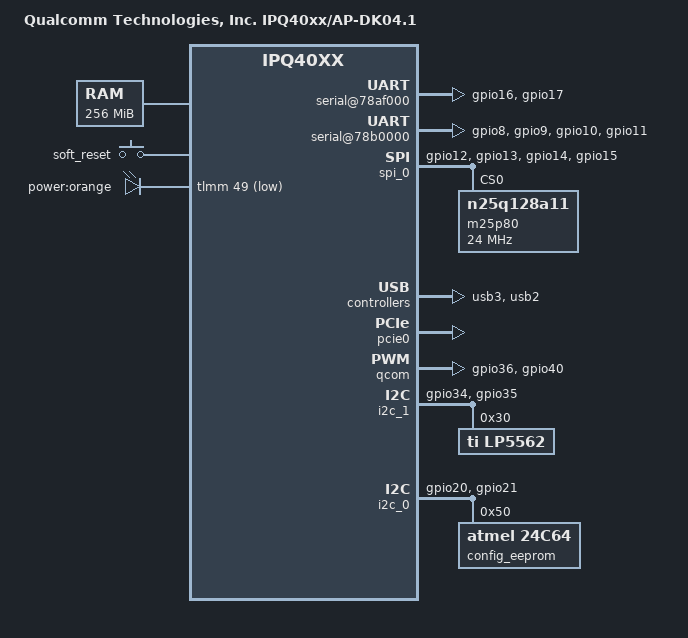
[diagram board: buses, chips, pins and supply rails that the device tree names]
/* Copyright (c) 2015, The Linux Foundation. All rights reserved.
 *
 * Permission to use, copy, modify, and/or distribute this software for any
 * purpose with or without fee is hereby granted, provided that the above
 * copyright notice and this permission notice appear in all copies.
 *
 * THE SOFTWARE IS PROVIDED "AS IS" AND THE AUTHOR DISCLAIMS ALL WARRANTIES
 * WITH REGARD TO THIS SOFTWARE INCLUDING ALL IMPLIED WARRANTIES OF
 * MERCHANTABILITY AND FITNESS. IN NO EVENT SHALL THE AUTHOR BE LIABLE FOR
 * ANY SPECIAL, DIRECT, INDIRECT, OR CONSEQUENTIAL DAMAGES OR ANY DAMAGES
 * WHATSOEVER RESULTING FROM LOSS OF USE, DATA OR PROFITS, WHETHER IN AN
 * ACTION OF CONTRACT, NEGLIGENCE OR OTHER TORTIOUS ACTION, ARISING OUT OF
 * OR IN CONNECTION WITH THE USE OR PERFORMANCE OF THIS SOFTWARE.
 *
 */

#include "qcom-ipq40xx.dtsi"
#include <dt-bindings/input/input.h>
#include <dt-bindings/gpio/gpio.h>

/ {
	model = "Qualcomm Technologies, Inc. IPQ40xx/AP-DK04.1";
	compatible = "qcom,ipq40xx-apdk04.1", "qcom,ipq40xx";

	memory {
		device_type = "memory";
		reg = <0x80000000 0x10000000>; /* 256MB */
		linux,usable-memory = <0x80000000 0xFF00000>;
	};

	reserved-memory {
		#address-cells = <1>;
		#size-cells = <1>;
		ranges;
		tz_mem@87B00000 {
			/* Reserved for TZ, SMEM, TZAPPS */
			reg = <0x87B00000 0x500000>;
			no-map;
		};
		wifi_dump@87500000 {
			reg = <0x87500000 0x600000>;
			no-map;
		};
	};

	chosen {
		bootargs-append = " clk_ignore_unused";
	};

};
	&soc {
		pinctrl@0x01000000 {
			serial_0_pins: serial0_pinmux {
				mux {
					pins = "gpio16", "gpio17";
					function = "blsp_uart0";
					bias-disable;
				};
			};

			led_0_pins: led0_pinmux {
				mux_1 {
					pins = "gpio36";
					function = "led0";
					bias-pull-down;
				};
				mux_2 {
					pins = "gpio40";
					function = "led4";
					bias-pull-down;
				};
			};

			serial_1_pins: serial1_pinmux {
				mux {
					pins = "gpio8", "gpio9", "gpio10", "gpio11";
					function = "blsp_uart1";
					bias-disable;
				};
			};

			spi_0_pins: spi_0_pinmux {
				mux {
					pins = "gpio12", "gpio13", "gpio14", "gpio15";
					function = "blsp_spi0";
					bias-disable;
				};
			};

			i2c_0_pins: i2c_0_pinmux {
				mux {
					pins = "gpio20", "gpio21";
					function = "blsp_i2c0";
					bias-disable;
				};
			};

			ts_0_pins: ts_0_pinmux {
				mux_1 {
					pins = "gpio34";
					output-high;
				};
				mux_2 {
					pins= "gpio35";
					input-enable;
					bias-pull-up;
				};
			};

			i2c_1_pins: i2c_1_pinmux {
				mux {
					pins = "gpio34", "gpio35";
					function = "blsp_i2c1";
					bias-disable;
				};
			};
		};

		serial@78af000 {
			pinctrl-0 = <&serial_0_pins>;
			pinctrl-names = "default";
			status = "ok";
		};

		serial@78b0000 {
			pinctrl-0 = <&serial_1_pins>;
			pinctrl-names = "default";
			status = "ok";
		};

		spi_0: spi@78b5000 { /* BLSP1 QUP1 */
			pinctrl-0 = <&spi_0_pins>;
			pinctrl-names = "default";
			status = "ok";

			m25p80@0 {
				#address-cells = <1>;
				#size-cells = <1>;
				reg = <0>;
				compatible = "n25q128a11";
				linux,modalias = "m25p80", "n25q128a11";
				spi-max-frequency = <24000000>;
				use-default-sizes;
			};
		};

		tcsr: tcsr@194b000 {
			status = "ok";
		};

		usb3_ss_phy: ssphy@0 {
			status = "ok";
		};

		dummy_ss_phy: ssphy@1 {
			status = "ok";
		};

		usb3_hs_phy: hsphy@a6000 {
			status = "ok";
		};

		usb2_hs_phy: hsphy@a8000 {
			status = "ok";
		};

		usb3: usb3@8a00000 {
			status = "ok";
		};

		usb2: usb2@6000000 {
			status = "ok";
		};

		qcom_crypto: qcrypto@8e20000 {
			status = "ok";
		};

		qcom_cedev: qcedev@8e20000 {
			status = "ok";
		};

		pcie0: qcom,pcie@80000 {
			status = "ok";
			perst-gpio = <&tlmm 38 0>;
			wake-gpio = <&tlmm 40 0>;
			clkreq-gpio = <&tlmm 39 0>;
		};

		qcom: ledc@1937000  {
			status = "ok";
			pinctrl-0 = <&led_0_pins>;
			pinctrl-names = "default";
		};

		ess-switch@c000000 {
			switch_initvlas = <
				0x0007c 0x54 /* PORT0_STATUS */
			>;
			led_source@0 {
				source = <0x1>;  /*source id 1 */
				mode = "normal"; /*on,off,blink,normal */
				speed = "all";   /*10M,100M,1000M,all */
				freq = "auto";   /*2Hz,4Hz,8Hz,auto*/
			};
			led_source@1 {
				source = <0x4>;  /*source id 4 */
				mode = "normal"; /*on,off,blink,normal */
				speed = "all";   /*10M,100M,1000M,all */
				freq = "auto";   /*2Hz,4Hz,8Hz,auto*/
			};
			led_source@2 {
				source = <0x7>;  /*source id 7 */
				mode = "normal"; /*on,off,blink,normal */
				speed = "all";   /*10M,100M,1000M,all */
				freq = "auto";   /*2Hz,4Hz,8Hz,auto*/
			};
			led_source@3 {
				source = <0xa>;  /*source id 10 */
				mode = "normal"; /*on,off,blink,normal */
				speed = "all";   /*10M,100M,1000M,all */
				freq = "auto";   /*2Hz,4Hz,8Hz,auto*/
			};
			led_source@4 {
				source = <0xd>;  /*source id 13 */
				mode = "normal"; /*on,off,blink,normal */
				speed = "all";   /*10M,100M,1000M,all */
				freq = "auto";   /*2Hz,4Hz,8Hz,auto*/
			};
		};

		vccq_sd0: regulator@0 {
			compatible = "qcom,regulator-ipq40xx";
			regulator-name = "SD0 VccQ";
			regulator-min-microvolt = <1800000>;
			regulator-max-microvolt = <3000000>;
			states = <3000000 0x3
				1800000 0x1>;
			reg = <0x01948000 0x4>;
			mask = <0x3>;
		};

		qcom,nand@7980000 {
			status = "disabled";

			/*
			 * QCA Partitions
			 */

			partition@0 {
				label = "sbl1";
				reg = <0x00000000 0x100000>;
			};

			partition@1 {
				label = "mibib";
				reg = <0x00100000 0x100000>;
			};

			partition@2 {
				label = "bootconfig";
				reg = <0x00200000 0x100000>;
			};

			partition@3 {
				label = "qsee";
				reg = <0x00300000 0x100000>;
			};

			partition@5 {
				label = "qsee_alt";
				reg = <0x00400000 0x100000>;
			};

			partition@6 {
				label = "cdt";
				reg = <0x00500000 0x80000>;
			};

			partition@7 {
				label = "cdt_alt";
				reg = <0x00580000 0x80000>;
			};

			partition@8 {
				label = "ddrparams";
				reg = <0x00600000 0x80000>;
			};

			partition@9 {
				label = "u-boot";
				reg = <0x00700000 0x200000>;
			};

			partition@10 {
				label = "u-boot-backup";
				reg = <0x00900000 0x200000>;
			};

			partition@11 {
				label = "ART";
				reg = <0x00B00000 0x80000>;
			};

			/*
			 * Meraki Partitions
			 */

			partition@12 {
				label = "ubi";
				reg = <0x00C00000 0x7000000>;
			};
		};

		gpio_keys {
			compatible = "gpio-keys-polled";
			poll-interval = <20>;

			button@1 {
				label = "soft_reset";
				linux,code = <KEY_RESTART>;
				linux,input-type = <0>;
				debounce-interval = <60>;
			};
		};

		leds {
			compatible = "gpio-leds";
			orange {
				label = "power:orange";
				gpios = <&tlmm 49 GPIO_ACTIVE_LOW>;
				default-state = "on";
			};
		};

		i2c_1: i2c@78b8000 {
			pinctrl-0 = <&i2c_1_pins>;
			pinctrl-1 = <&i2c_1_pins>;
			pinctrl-names = "i2c_active","i2c_sleep";
			status = "ok";

			lp5562 {
				compatible = "ti,lp5562";
				clock-mode = /bits/8 <2>;
				reg = <0x30>;

				chan0 {
					 chan-name = "tricolor0:red";
					 led-cur = /bits/ 8 <0x20>;
					 max-cur = /bits/ 8 <0x60>;
				};

				chan1 {
					 chan-name = "tricolor0:green";
					 led-cur = /bits/ 8 <0x20>;
					 max-cur = /bits/ 8 <0x60>;
				};

				chan2 {
					 chan-name = "tricolor0:blue";
					 led-cur = /bits/ 8 <0x20>;
					 max-cur = /bits/ 8 <0x60>;
				};

				chan3 {
					 chan-name = "power:white";
					 led-cur = /bits/ 8 <0x20>;
					 max-cur = /bits/ 8 <0x60>;
				};
			};
		};

		i2c_0: i2c@78b7000 { /* BLSP1 QUP2 */
			pinctrl-0 = <&i2c_0_pins>;
			pinctrl-1 = <&i2c_0_pins>;
			pinctrl-names = "i2c_active", "i2c_sleep";
			status = "ok";

			config_eeprom: at24@50 {
				compatible = "atmel,24c64";
				pagesize = <32>;
				reg = <0x50>;
			};
		};

		board-data {
			compatible = "meraki,meraki-config";
			i2c-eeprom = <&config_eeprom>;
			gpios = <>;
		};
	};
